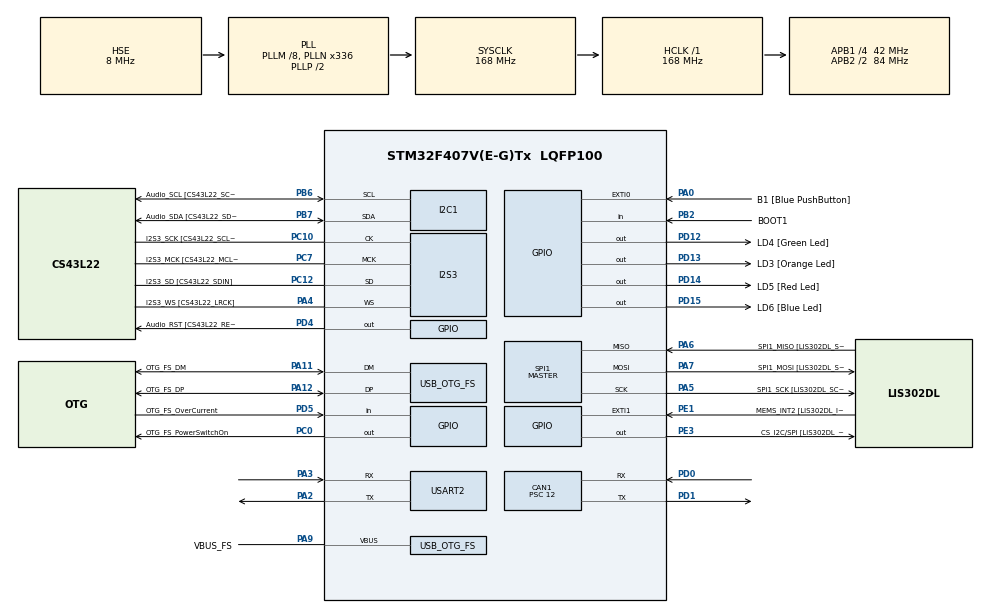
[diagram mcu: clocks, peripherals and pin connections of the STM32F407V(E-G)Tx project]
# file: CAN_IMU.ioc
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CAN1.BS1=CAN_BS1_11TQ
CAN1.BS2=CAN_BS2_2TQ
CAN1.CalculateBaudRate=250000
CAN1.CalculateTimeBit=4000
CAN1.CalculateTimeQuantum=285.7142857142857
CAN1.Prescaler=12
I2S3.AudioFreq-Half_Duplex_Master=I2S_AUDIOFREQ_96K
I2S3.ErrorAudioFreq=-2.34 %
I2S3.ErrorAudioFreq-Half_Duplex_Master=0.8 %
I2S3.FullDuplexMode=I2S_FULLDUPLEXMODE_DISABLE
I2S3.Instance=SPI$Index
I2S3.RealAudioFreq=93.75 KHz
I2S3.RealAudioFreq-Half_Duplex_Master=96.774 KHz
I2S3.VirtualMode=I2S_MODE_MASTER
Mcu.Family=STM32F4
Mcu.Name=STM32F407V(E-G)Tx
Mcu.Package=LQFP100
NVIC.OTG_FS_IRQn=true\:0\:0\:false\:false\:true\:true\:true\:true
NVIC.PriorityGroup=NVIC_PRIORITYGROUP_0
PA0-WKUP.GPIO_Label=B1 [Blue PushButton]
PA0-WKUP.GPIO_ModeDefaultEXTI=GPIO_MODE_EVT_RISING
PA0-WKUP.GPIO_PuPd=GPIO_NOPULL
PA0-WKUP.Signal=GPXTI0
PA10.GPIO_Label=OTG_FS_ID
PA10.GPIO_Mode=GPIO_MODE_AF_PP
PA10.GPIO_PuPd=GPIO_NOPULL
PA10.GPIO_Speed=GPIO_SPEED_FREQ_LOW
PA10.Signal=USB_OTG_FS_ID
PA11.GPIO_Label=OTG_FS_DM
PA11.GPIO_Mode=GPIO_MODE_AF_PP
PA11.GPIO_PuPd=GPIO_NOPULL
PA11.GPIO_Speed=GPIO_SPEED_FREQ_LOW
PA11.Mode=Host_Only
PA11.Signal=USB_OTG_FS_DM
PA12.GPIO_Label=OTG_FS_DP
PA12.GPIO_Mode=GPIO_MODE_AF_PP
PA12.GPIO_PuPd=GPIO_NOPULL
PA12.GPIO_Speed=GPIO_SPEED_FREQ_LOW
PA12.Mode=Host_Only
PA12.Signal=USB_OTG_FS_DP
PA13.GPIO_Label=SWDIO
PA13.Mode=Serial_Wire
PA13.Signal=SYS_JTMS-SWDIO
PA14.GPIO_Label=SWCLK
PA14.Mode=Serial_Wire
PA14.Signal=SYS_JTCK-SWCLK
PA2.Mode=Asynchronous
PA2.Signal=USART2_TX
PA3.Mode=Asynchronous
PA3.Signal=USART2_RX
PA4.GPIO_Label=I2S3_WS [CS43L22_LRCK]
PA4.GPIO_Mode=GPIO_MODE_AF_PP
PA4.GPIO_PuPd=GPIO_NOPULL
PA4.GPIO_Speed=GPIO_SPEED_FREQ_LOW
PA4.Mode=Half_Duplex_Master
PA4.Signal=I2S3_WS
PA5.GPIO_Label=SPI1_SCK [LIS302DL_SCL/SPC]
PA5.GPIO_Mode=GPIO_MODE_AF_PP
PA5.GPIO_PuPd=GPIO_NOPULL
PA5.GPIO_Speed=GPIO_SPEED_FREQ_LOW
PA5.Mode=Full_Duplex_Master
PA5.Signal=SPI1_SCK
PA6.GPIO_Label=SPI1_MISO [LIS302DL_SDO]
PA6.GPIO_Mode=GPIO_MODE_AF_PP
PA6.GPIO_PuPd=GPIO_NOPULL
PA6.GPIO_Speed=GPIO_SPEED_FREQ_LOW
PA6.Mode=Full_Duplex_Master
PA6.Signal=SPI1_MISO
PA7.GPIO_Label=SPI1_MOSI [LIS302DL_SDA/SDI/SDO]
PA7.GPIO_Mode=GPIO_MODE_AF_PP
PA7.GPIO_PuPd=GPIO_NOPULL
PA7.GPIO_Speed=GPIO_SPEED_FREQ_LOW
PA7.Mode=Full_Duplex_Master
PA7.Signal=SPI1_MOSI
PA9.GPIO_Label=VBUS_FS
PA9.GPIO_Mode=GPIO_MODE_INPUT
PA9.GPIO_PuPd=GPIO_NOPULL
PA9.Mode=Activate_VBUS
PA9.Signal=USB_OTG_FS_VBUS
PB10.GPIO_Label=CLK_IN [MP45DT02_CLK]
PB10.GPIO_Mode=GPIO_MODE_AF_PP
PB10.GPIO_PuPd=GPIO_NOPULL
PB10.GPIO_Speed=GPIO_SPEED_FREQ_LOW
PB10.Signal=I2S2_CK
PB2.GPIO_Label=BOOT1
PB2.GPIO_Mode=GPIO_MODE_INPUT
PB2.GPIO_PuPd=GPIO_NOPULL
PB2.Signal=GPIO_Input
PB3.GPIO_Label=SWO
PB3.Signal=SYS_JTDO-SWO
PB6.GPIO_Label=Audio_SCL [CS43L22_SCL]
PB6.GPIO_Mode=GPIO_MODE_AF_OD
PB6.GPIO_Pu=GPIO_PULLUP
PB6.GPIO_PuPd=GPIO_NOPULL
PB6.GPIO_Speed=GPIO_SPEED_FREQ_LOW
PB6.Mode=I2C
PB6.Signal=I2C1_SCL
PB7.GPIO_Label=Audio_SDA [CS43L22_SDA]
PB7.GPIO_Mode=GPIO_MODE_AF_OD
PB7.GPIO_Pu=GPIO_PULLUP
PB7.GPIO_Speed=GPIO_SPEED_FREQ_LOW
PB7.Mode=I2C
PB7.Signal=I2C1_SDA
PC0.GPIO_Label=OTG_FS_PowerSwitchOn
PC0.GPIO_PuPd=GPIO_NOPULL
PC0.GPIO_Speed=GPIO_SPEED_FREQ_LOW
PC0.PinState=GPIO_PIN_SET
PC0.Signal=GPIO_Output
PC10.GPIO_Label=I2S3_SCK [CS43L22_SCLK]
PC10.GPIO_Mode=GPIO_MODE_AF_PP
PC10.GPIO_PuPd=GPIO_NOPULL
PC10.GPIO_Speed=GPIO_SPEED_FREQ_LOW
PC10.Mode=Half_Duplex_Master
PC10.Signal=I2S3_CK
PC12.GPIO_Label=I2S3_SD [CS43L22_SDIN]
PC12.GPIO_Mode=GPIO_MODE_AF_PP
PC12.GPIO_PuPd=GPIO_NOPULL
PC12.GPIO_Speed=GPIO_SPEED_FREQ_LOW
PC12.Mode=Half_Duplex_Master
PC12.Signal=I2S3_SD
PC14-OSC32_IN.GPIO_Label=PC14-OSC32_IN
PC14-OSC32_IN.Mode=LSE-External-Oscillator
PC14-OSC32_IN.Signal=RCC_OSC32_IN
PC15-OSC32_OUT.GPIO_Label=PC15-OSC32_OUT
PC15-OSC32_OUT.Mode=LSE-External-Oscillator
PC15-OSC32_OUT.Signal=RCC_OSC32_OUT
PC3.GPIO_Label=PDM_OUT [MP45DT02_DOUT]
PC3.GPIO_Mode=GPIO_MODE_AF_PP
PC3.GPIO_PuPd=GPIO_NOPULL
PC3.GPIO_Speed=GPIO_SPEED_FREQ_LOW
PC3.Signal=I2S2_SD
PC7.GPIO_Label=I2S3_MCK [CS43L22_MCLK]
PC7.GPIO_Mode=GPIO_MODE_AF_PP
PC7.GPIO_PuPd=GPIO_NOPULL
PC7.GPIO_Speed=GPIO_SPEED_FREQ_LOW
PC7.Mode=Master_Clock_Activated
PC7.Signal=I2S3_MCK
PD0.Mode=CAN_Activate
PD0.Signal=CAN1_RX
PD1.Mode=CAN_Activate
PD1.Signal=CAN1_TX
PD12.GPIO_Label=LD4 [Green Led]
PD12.GPIO_PuPd=GPIO_NOPULL
PD12.GPIO_Speed=GPIO_SPEED_FREQ_LOW
PD12.Signal=GPIO_Output
PD13.GPIO_Label=LD3 [Orange Led]
PD13.GPIO_PuPd=GPIO_NOPULL
PD13.GPIO_Speed=GPIO_SPEED_FREQ_LOW
PD13.Signal=GPIO_Output
PD14.GPIO_Label=LD5 [Red Led]
PD14.GPIO_PuPd=GPIO_NOPULL
PD14.GPIO_Speed=GPIO_SPEED_FREQ_LOW
PD14.Signal=GPIO_Output
PD15.GPIO_Label=LD6 [Blue Led]
PD15.GPIO_PuPd=GPIO_NOPULL
PD15.GPIO_Speed=GPIO_SPEED_FREQ_LOW
PD15.Signal=GPIO_Output
PD4.GPIO_Label=Audio_RST [CS43L22_RESET]
PD4.GPIO_PuPd=GPIO_NOPULL
PD4.GPIO_Speed=GPIO_SPEED_FREQ_LOW
PD4.Signal=GPIO_Output
PD5.GPIO_Label=OTG_FS_OverCurrent
PD5.GPIO_Mode=GPIO_MODE_INPUT
PD5.GPIO_PuPd=GPIO_NOPULL
PD5.Signal=GPIO_Input
PE1.GPIO_Label=MEMS_INT2 [LIS302DL_INT2]
PE1.GPIO_ModeDefaultEXTI=GPIO_MODE_EVT_RISING
PE1.GPIO_PuPd=GPIO_NOPULL
PE1.Signal=GPXTI1
PE3.GPIO_Label=CS_I2C/SPI [LIS302DL_CS_I2C/SPI]
PE3.GPIO_PuPd=GPIO_NOPULL
PE3.GPIO_Speed=GPIO_SPEED_FREQ_LOW
PE3.Signal=GPIO_Output
PH0-OSC_IN.GPIO_Label=PH0-OSC_IN
PH0-OSC_IN.Mode=HSE-External-Oscillator
PH0-OSC_IN.Signal=RCC_OSC_IN
PH1-OSC_OUT.GPIO_Label=PH1-OSC_OUT
PH1-OSC_OUT.Mode=HSE-External-Oscillator
PH1-OSC_OUT.Signal=RCC_OSC_OUT
ProjectManager.HeapSize=0x200
ProjectManager.StackSize=0x400
ProjectManager.TargetToolchain=STM32CubeIDE
RCC.48MHZClocksFreq_Value=48000000
RCC.AHBFreq_Value=168000000
RCC.APB1CLKDivider=RCC_HCLK_DIV4
RCC.APB1Freq_Value=42000000
RCC.APB1TimFreq_Value=84000000
RCC.APB2CLKDivider=RCC_HCLK_DIV2
RCC.APB2Freq_Value=84000000
RCC.APB2TimFreq_Value=168000000
RCC.CortexFreq_Value=168000000
RCC.HCLKFreq_Value=168000000
RCC.HSE_VALUE=8000000
RCC.HSI_VALUE=16000000
RCC.PLLM=8
RCC.PLLN=336
RCC.PLLQ=7
RCC.SYSCLKFreq_VALUE=168000000
RCC.SYSCLKSource=RCC_SYSCLKSOURCE_PLLCLK
RCC.VCOOutputFreq_Value=336000000
SPI1.BaudRatePrescaler-Full_Duplex_Master=SPI_BAUDRATEPRESCALER_2
SPI1.CalculateBaudRate-Full_Duplex_Master=42.0 MBits/s
SPI1.Direction=SPI_DIRECTION_2LINES
SPI1.Mode=SPI_MODE_MASTER
SPI1.Mode-Full_Duplex_Master=SPI_MODE_MASTER
SPI1.VirtualType=VM_MASTER
USART2.VirtualMode=VM_ASYNC
USB_HOST.BSP.number=1
USB_HOST.USBH_HandleTypeDef-CDC_FS=hUsbHostFS
USB_HOST.VirtualModeFS=Cdc
USB_HOST0.BSP.STBoard=false
USB_HOST0.BSP.api=Unknown
USB_HOST0.BSP.instance=PC0
USB_HOST0.BSP.ip=GPIO
USB_HOST0.BSP.mode=Output
USB_HOST0.BSP.name=Drive_VBUS_FS
USB_HOST0.BSP.solution=PC0
USB_OTG_FS.VirtualMode=Host_Only
USB_OTG_FS.phy_itface=HCD_PHY_EMBEDDED
VP_USB_HOST_VS_USB_HOST_CDC_FS.Mode=CDC_FS
board=STM32F407G-DISC1

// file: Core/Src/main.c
/* USER CODE BEGIN Header */
/**
  ******************************************************************************
  * @file           : main.c
  * @brief          : Main program body
  ******************************************************************************
  * @attention
  *
  * Copyright (c) 2025 STMicroelectronics.
  * All rights reserved.
  *
  * This software is licensed under terms that can be found in the LICENSE file
  * in the root directory of this software component.
  * If no LICENSE file comes with this software, it is provided AS-IS.
  *
  ******************************************************************************
  */
/* USER CODE END Header */
#include "main.h"
#include "usb_host.h"

/* USER CODE BEGIN Includes */
#include <string.h>
#include <stdio.h>
#include "bno055_stm32.h"
/* USER CODE END Includes */

CAN_HandleTypeDef hcan1;

I2C_HandleTypeDef hi2c1;

I2S_HandleTypeDef hi2s3;

SPI_HandleTypeDef hspi1;

UART_HandleTypeDef huart2;

/* USER CODE BEGIN PV */
BNO055_HandleTypeDef hBNO055;

float imu_heading_deg = 0.0f;
float imu_roll_deg    = 0.0f;
float imu_pitch_deg   = 0.0f;
float qw, qx, qy, qz;
float gyro_x, gyro_y, gyro_z;
float acc_x, acc_y, acc_z;

char uart_tx_buffer[200];

/* CAN 디버깅용 전역 변수 */
volatile uint32_t g_can_tx_ok       = 0;
volatile uint32_t g_can_tx_err      = 0;
volatile uint32_t g_can_last_error  = 0;

/* CAN 송신용 헤더/버퍼 */
CAN_TxHeaderTypeDef  canTxHeader;
uint8_t              canTxData[8];
uint32_t             canTxMailbox;

/* USER CODE END PV */

void SystemClock_Config(void);
static void MX_GPIO_Init(void);
static void MX_I2C1_Init(void);
static void MX_I2S3_Init(void);
static void MX_SPI1_Init(void);
static void MX_CAN1_Init(void);
static void MX_USART2_UART_Init(void);
void MX_USB_HOST_Process(void);

/* USER CODE BEGIN PFP */
void IMU_SendData(float heading, float roll, float pitch);
void CAN1_Start_AllFilter(void);
void IMU_SendData_CAN(float heading_deg, float roll_deg, float pitch_deg);
/* USER CODE END PFP */

/* USER CODE BEGIN 0 */

void CAN1_Start_AllFilter(void)
{
    CAN_FilterTypeDef sFilterConfig;

    // 모든 ID 허용 (Mask = 0)
    sFilterConfig.FilterBank = 0;
    sFilterConfig.FilterMode = CAN_FILTERMODE_IDMASK;
    sFilterConfig.FilterScale = CAN_FILTERSCALE_32BIT;
    sFilterConfig.FilterIdHigh = 0x0000;
    sFilterConfig.FilterIdLow  = 0x0000;
    sFilterConfig.FilterMaskIdHigh = 0x0000;
    sFilterConfig.FilterMaskIdLow  = 0x0000;
    sFilterConfig.FilterFIFOAssignment = CAN_FILTER_FIFO0;
    sFilterConfig.FilterActivation = ENABLE;
    sFilterConfig.SlaveStartFilterBank = 14;  // 단일 CAN이면 그냥 14 정도로 두면 됨

    if (HAL_CAN_ConfigFilter(&hcan1, &sFilterConfig) != HAL_OK) {
        Error_Handler();
    }

    if (HAL_CAN_Start(&hcan1) != HAL_OK) {
        Error_Handler();
    }
}

/* USER CODE END 0 */

int main(void)
{

  /* MCU Configuration--------------------------------------------------------*/

  /* Reset of all peripherals, Initializes the Flash interface and the Systick. */
  HAL_Init();

  /* Configure the system clock */
  SystemClock_Config();

  /* Initialize all configured peripherals */
  MX_GPIO_Init();
  MX_I2C1_Init();
  MX_I2S3_Init();
  MX_SPI1_Init();
  MX_USB_HOST_Init();
  MX_CAN1_Init();
  GPIO_InitTypeDef GPIO_InitStruct = {0};
  GPIO_InitStruct.Pin = GPIO_PIN_2;     // PA2 = USART2_TX
  GPIO_InitStruct.Mode = GPIO_MODE_INPUT;
  GPIO_InitStruct.Pull = GPIO_NOPULL;
  HAL_GPIO_Init(GPIOA, &GPIO_InitStruct);
  HAL_Delay(5000);
  MX_USART2_UART_Init();

  /* USER CODE BEGIN 2 */
  uint8_t buffer[256];
  // CAN 필터 + Start
  CAN1_Start_AllFilter();  // ★ CAN 시작

  hBNO055.hi2c   = &hi2c1;
  hBNO055.address = 0x28;   // COM3 = LOW 일 때 기본 주소, HIGH면 0x29로 변경
  if (BNO055_Init(&hBNO055) != HAL_OK) {
      // 초기화 실패 시 에러 처리 (LED 깜빡이거나, 무한루프 등)
	  HAL_GPIO_WritePin(GPIOD, GPIO_PIN_15,1);
  } else {
	  HAL_GPIO_WritePin(GPIOD, GPIO_PIN_14,1);
  }
  /* USER CODE END 2 */

  /* Infinite loop */
  /* USER CODE BEGIN WHILE */
  while (1)
  {
	  if (BNO055_ReadEuler(&hBNO055,
						   &imu_heading_deg,
						   &imu_roll_deg,
						   &imu_pitch_deg) == HAL_OK) {
		  IMU_SendData(imu_heading_deg, imu_roll_deg, imu_pitch_deg);

		  // CAN 송신 (ESP32와 동일 포맷)
		  //IMU_SendData_CAN(imu_heading_deg, imu_roll_deg, imu_pitch_deg);
	  }
    /* USER CODE END WHILE */
	//CAN_DebugPrint_Periodic();

    MX_USB_HOST_Process();

  }
}

void SystemClock_Config(void)
{
  RCC_OscInitTypeDef RCC_OscInitStruct = {0};
  RCC_ClkInitTypeDef RCC_ClkInitStruct = {0};

  /** Configure the main internal regulator output voltage
  */
  __HAL_RCC_PWR_CLK_ENABLE();
  __HAL_PWR_VOLTAGESCALING_CONFIG(PWR_REGULATOR_VOLTAGE_SCALE1);

  /** Initializes the RCC Oscillators according to the specified parameters
  * in the RCC_OscInitTypeDef structure.
  */
  RCC_OscInitStruct.OscillatorType = RCC_OSCILLATORTYPE_HSE;
  RCC_OscInitStruct.HSEState = RCC_HSE_ON;
  RCC_OscInitStruct.PLL.PLLState = RCC_PLL_ON;
  RCC_OscInitStruct.PLL.PLLSource = RCC_PLLSOURCE_HSE;
  RCC_OscInitStruct.PLL.PLLM = 8;
  RCC_OscInitStruct.PLL.PLLN = 336;
  RCC_OscInitStruct.PLL.PLLP = RCC_PLLP_DIV2;
  RCC_OscInitStruct.PLL.PLLQ = 7;
  if (HAL_RCC_OscConfig(&RCC_OscInitStruct) != HAL_OK)
  {
    Error_Handler();
  }

  /** Initializes the CPU, AHB and APB buses clocks
  */
  RCC_ClkInitStruct.ClockType = RCC_CLOCKTYPE_HCLK|RCC_CLOCKTYPE_SYSCLK
                              |RCC_CLOCKTYPE_PCLK1|RCC_CLOCKTYPE_PCLK2;
  RCC_ClkInitStruct.SYSCLKSource = RCC_SYSCLKSOURCE_PLLCLK;
  RCC_ClkInitStruct.AHBCLKDivider = RCC_SYSCLK_DIV1;
  RCC_ClkInitStruct.APB1CLKDivider = RCC_HCLK_DIV4;
  RCC_ClkInitStruct.APB2CLKDivider = RCC_HCLK_DIV2;

  if (HAL_RCC_ClockConfig(&RCC_ClkInitStruct, FLASH_LATENCY_5) != HAL_OK)
  {
    Error_Handler();
  }
}

static void MX_CAN1_Init(void)
{

  hcan1.Instance = CAN1;
  hcan1.Init.Prescaler = 12;
  hcan1.Init.Mode = CAN_MODE_NORMAL;
  hcan1.Init.SyncJumpWidth = CAN_SJW_1TQ;
  hcan1.Init.TimeSeg1 = CAN_BS1_11TQ;
  hcan1.Init.TimeSeg2 = CAN_BS2_2TQ;
  hcan1.Init.TimeTriggeredMode = DISABLE;
  hcan1.Init.AutoBusOff = ENABLE;
  hcan1.Init.AutoWakeUp = ENABLE;
  hcan1.Init.AutoRetransmission = ENABLE;
  hcan1.Init.ReceiveFifoLocked = DISABLE;
  hcan1.Init.TransmitFifoPriority = DISABLE;
  if (HAL_CAN_Init(&hcan1) != HAL_OK)
  {
    Error_Handler();
  }

}

static void MX_I2C1_Init(void)
{

  hi2c1.Instance = I2C1;
  hi2c1.Init.ClockSpeed = 100000;
  hi2c1.Init.DutyCycle = I2C_DUTYCYCLE_2;
  hi2c1.Init.OwnAddress1 = 0;
  hi2c1.Init.AddressingMode = I2C_ADDRESSINGMODE_7BIT;
  hi2c1.Init.DualAddressMode = I2C_DUALADDRESS_DISABLE;
  hi2c1.Init.OwnAddress2 = 0;
  hi2c1.Init.GeneralCallMode = I2C_GENERALCALL_DISABLE;
  hi2c1.Init.NoStretchMode = I2C_NOSTRETCH_DISABLE;
  if (HAL_I2C_Init(&hi2c1) != HAL_OK)
  {
    Error_Handler();
  }

}

static void MX_I2S3_Init(void)
{

  hi2s3.Instance = SPI3;
  hi2s3.Init.Mode = I2S_MODE_MASTER_TX;
  hi2s3.Init.Standard = I2S_STANDARD_PHILIPS;
  hi2s3.Init.DataFormat = I2S_DATAFORMAT_16B;
  hi2s3.Init.MCLKOutput = I2S_MCLKOUTPUT_ENABLE;
  hi2s3.Init.AudioFreq = I2S_AUDIOFREQ_96K;
  hi2s3.Init.CPOL = I2S_CPOL_LOW;
  hi2s3.Init.ClockSource = I2S_CLOCK_PLL;
  hi2s3.Init.FullDuplexMode = I2S_FULLDUPLEXMODE_DISABLE;
  if (HAL_I2S_Init(&hi2s3) != HAL_OK)
  {
    Error_Handler();
  }

}

static void MX_SPI1_Init(void)
{

  /* SPI1 parameter configuration*/
  hspi1.Instance = SPI1;
  hspi1.Init.Mode = SPI_MODE_MASTER;
  hspi1.Init.Direction = SPI_DIRECTION_2LINES;
  hspi1.Init.DataSize = SPI_DATASIZE_8BIT;
  hspi1.Init.CLKPolarity = SPI_POLARITY_LOW;
  hspi1.Init.CLKPhase = SPI_PHASE_1EDGE;
  hspi1.Init.NSS = SPI_NSS_SOFT;
  hspi1.Init.BaudRatePrescaler = SPI_BAUDRATEPRESCALER_2;
  hspi1.Init.FirstBit = SPI_FIRSTBIT_MSB;
  hspi1.Init.TIMode = SPI_TIMODE_DISABLE;
  hspi1.Init.CRCCalculation = SPI_CRCCALCULATION_DISABLE;
  hspi1.Init.CRCPolynomial = 10;
  if (HAL_SPI_Init(&hspi1) != HAL_OK)
  {
    Error_Handler();
  }

}

static void MX_USART2_UART_Init(void)
{

  huart2.Instance = USART2;
  huart2.Init.BaudRate = 115200;
  huart2.Init.WordLength = UART_WORDLENGTH_8B;
  huart2.Init.StopBits = UART_STOPBITS_1;
  huart2.Init.Parity = UART_PARITY_NONE;
  huart2.Init.Mode = UART_MODE_TX_RX;
  huart2.Init.HwFlowCtl = UART_HWCONTROL_NONE;
  huart2.Init.OverSampling = UART_OVERSAMPLING_16;
  if (HAL_UART_Init(&huart2) != HAL_OK)
  {
    Error_Handler();
  }

}

static void MX_GPIO_Init(void)
{
  GPIO_InitTypeDef GPIO_InitStruct = {0};

  /* GPIO Ports Clock Enable */
  __HAL_RCC_GPIOE_CLK_ENABLE();
  __HAL_RCC_GPIOC_CLK_ENABLE();
  __HAL_RCC_GPIOH_CLK_ENABLE();
  __HAL_RCC_GPIOA_CLK_ENABLE();
  __HAL_RCC_GPIOB_CLK_ENABLE();
  __HAL_RCC_GPIOD_CLK_ENABLE();

  /*Configure GPIO pin Output Level */
  HAL_GPIO_WritePin(CS_I2C_SPI_GPIO_Port, CS_I2C_SPI_Pin, GPIO_PIN_RESET);

  /*Configure GPIO pin Output Level */
  HAL_GPIO_WritePin(OTG_FS_PowerSwitchOn_GPIO_Port, OTG_FS_PowerSwitchOn_Pin, GPIO_PIN_SET);

  /*Configure GPIO pin Output Level */
  HAL_GPIO_WritePin(GPIOD, LD4_Pin|LD3_Pin|LD5_Pin|LD6_Pin
                          |Audio_RST_Pin, GPIO_PIN_RESET);

  /*Configure GPIO pin : CS_I2C_SPI_Pin */
  GPIO_InitStruct.Pin = CS_I2C_SPI_Pin;
  GPIO_InitStruct.Mode = GPIO_MODE_OUTPUT_PP;
  GPIO_InitStruct.Pull = GPIO_NOPULL;
  GPIO_InitStruct.Speed = GPIO_SPEED_FREQ_LOW;
  HAL_GPIO_Init(CS_I2C_SPI_GPIO_Port, &GPIO_InitStruct);

  /*Configure GPIO pin : OTG_FS_PowerSwitchOn_Pin */
  GPIO_InitStruct.Pin = OTG_FS_PowerSwitchOn_Pin;
  GPIO_InitStruct.Mode = GPIO_MODE_OUTPUT_PP;
  GPIO_InitStruct.Pull = GPIO_NOPULL;
  GPIO_InitStruct.Speed = GPIO_SPEED_FREQ_LOW;
  HAL_GPIO_Init(OTG_FS_PowerSwitchOn_GPIO_Port, &GPIO_InitStruct);

  /*Configure GPIO pin : PDM_OUT_Pin */
  GPIO_InitStruct.Pin = PDM_OUT_Pin;
  GPIO_InitStruct.Mode = GPIO_MODE_AF_PP;
  GPIO_InitStruct.Pull = GPIO_NOPULL;
  GPIO_InitStruct.Speed = GPIO_SPEED_FREQ_LOW;
  GPIO_InitStruct.Alternate = GPIO_AF5_SPI2;
  HAL_GPIO_Init(PDM_OUT_GPIO_Port, &GPIO_InitStruct);

  /*Configure GPIO pin : B1_Pin */
  GPIO_InitStruct.Pin = B1_Pin;
  GPIO_InitStruct.Mode = GPIO_MODE_EVT_RISING;
  GPIO_InitStruct.Pull = GPIO_NOPULL;
  HAL_GPIO_Init(B1_GPIO_Port, &GPIO_InitStruct);

  /*Configure GPIO pin : BOOT1_Pin */
  GPIO_InitStruct.Pin = BOOT1_Pin;
  GPIO_InitStruct.Mode = GPIO_MODE_INPUT;
  GPIO_InitStruct.Pull = GPIO_NOPULL;
  HAL_GPIO_Init(BOOT1_GPIO_Port, &GPIO_InitStruct);

  /*Configure GPIO pin : CLK_IN_Pin */
  GPIO_InitStruct.Pin = CLK_IN_Pin;
  GPIO_InitStruct.Mode = GPIO_MODE_AF_PP;
  GPIO_InitStruct.Pull = GPIO_NOPULL;
  GPIO_InitStruct.Speed = GPIO_SPEED_FREQ_LOW;
  GPIO_InitStruct.Alternate = GPIO_AF5_SPI2;
  HAL_GPIO_Init(CLK_IN_GPIO_Port, &GPIO_InitStruct);

  /*Configure GPIO pins : LD4_Pin LD3_Pin LD5_Pin LD6_Pin
                           Audio_RST_Pin */
  GPIO_InitStruct.Pin = LD4_Pin|LD3_Pin|LD5_Pin|LD6_Pin
                          |Audio_RST_Pin;
  GPIO_InitStruct.Mode = GPIO_MODE_OUTPUT_PP;
  GPIO_InitStruct.Pull = GPIO_NOPULL;
  GPIO_InitStruct.Speed = GPIO_SPEED_FREQ_LOW;
  HAL_GPIO_Init(GPIOD, &GPIO_InitStruct);

  /*Configure GPIO pin : OTG_FS_OverCurrent_Pin */
  GPIO_InitStruct.Pin = OTG_FS_OverCurrent_Pin;
  GPIO_InitStruct.Mode = GPIO_MODE_INPUT;
  GPIO_InitStruct.Pull = GPIO_NOPULL;
  HAL_GPIO_Init(OTG_FS_OverCurrent_GPIO_Port, &GPIO_InitStruct);

  /*Configure GPIO pin : MEMS_INT2_Pin */
  GPIO_InitStruct.Pin = MEMS_INT2_Pin;
  GPIO_InitStruct.Mode = GPIO_MODE_EVT_RISING;
  GPIO_InitStruct.Pull = GPIO_NOPULL;
  HAL_GPIO_Init(MEMS_INT2_GPIO_Port, &GPIO_InitStruct);

}

/* USER CODE BEGIN 4 */
// heading, roll, pitch [deg] → CAN 0x100, int16(centi-deg) 3개로 송신
void IMU_SendData_CAN(float heading_deg, float roll_deg, float pitch_deg)
{
    // 1) 각도 *100 해서 0.01도 단위 정수화
    int16_t yaw_centi   = (int16_t)(heading_deg * 100.0f);
    int16_t roll_centi  = (int16_t)(roll_deg    * 100.0f);
    int16_t pitch_centi = (int16_t)(pitch_deg   * 100.0f);

    // 2) CAN 헤더 설정 (ESP32와 동일 포맷)
    canTxHeader.StdId = 0x100;          // CAN_ID_IMU_EULER
    canTxHeader.IDE   = CAN_ID_STD;     // 표준 11bit ID
    canTxHeader.RTR   = CAN_RTR_DATA;   // 데이터 프레임
    canTxHeader.DLC   = 6;              // yaw, roll, pitch = 6바이트
    canTxHeader.TransmitGlobalTime = DISABLE;

    // 3) Little-endian으로 데이터 패킹
    canTxData[0] = (uint8_t)(yaw_centi & 0xFF);
    canTxData[1] = (uint8_t)((yaw_centi >> 8) & 0xFF);
    canTxData[2] = (uint8_t)(roll_centi & 0xFF);
    canTxData[3] = (uint8_t)((roll_centi >> 8) & 0xFF);
    canTxData[4] = (uint8_t)(pitch_centi & 0xFF);
    canTxData[5] = (uint8_t)((pitch_centi >> 8) & 0xFF);
    // 6,7은 비움

    HAL_StatusTypeDef st = HAL_CAN_AddTxMessage(&hcan1, &canTxHeader, canTxData, &canTxMailbox);

        if (st == HAL_OK)
        {
            g_can_tx_ok++;
            // 송신 성공 시 초록 LED 토글 (LD4_Pin = PD12)
            HAL_GPIO_TogglePin(GPIOD, LD4_Pin);
        }
        else
        {
            g_can_tx_err++;
            g_can_last_error = HAL_CAN_GetError(&hcan1);  // HAL_CAN_ERROR_* 비트들 저장

            // 에러 LED 토글 (LD5_Pin = PD14 = Red)
            HAL_GPIO_TogglePin(GPIOD, LD5_Pin);

            int len = snprintf(uart_tx_buffer, sizeof(uart_tx_buffer),
                               "[CAN TX ERR] st=%ld, err=0x%08lX\r\n",
                               (long)st, (unsigned long)g_can_last_error);
            HAL_UART_Transmit(&huart2, (uint8_t*)uart_tx_buffer, len, HAL_MAX_DELAY);
        }
}

void IMU_SendData(float heading, float roll, float pitch)
{
    // 기존 UART 디버그 출력 그대로 유지
    int len = snprintf(uart_tx_buffer, sizeof(uart_tx_buffer),
                       "H:%.2f,R:%.2f,P:%.2f\r\n",
                       heading, roll, pitch);

    HAL_UART_Transmit(&huart2, (uint8_t*)uart_tx_buffer, len, HAL_MAX_DELAY);
}

void CAN_DebugPrint_Periodic(void)
{
    static uint32_t last_tick = 0;
    uint32_t now = HAL_GetTick();

    if (now - last_tick < 1000)   // 1초마다
        return;

    last_tick = now;

    HAL_CAN_StateTypeDef can_state = HAL_CAN_GetState(&hcan1);
    uint32_t err = HAL_CAN_GetError(&hcan1);

    int len = snprintf(uart_tx_buffer, sizeof(uart_tx_buffer),
                       "[CAN] state=%ld, err=0x%08lX, tx_ok=%lu, tx_err=%lu\r\n",
                       (long)can_state,
                       (unsigned long)err,
                       (unsigned long)g_can_tx_ok,
                       (unsigned long)g_can_tx_err);
    HAL_UART_Transmit(&huart2, (uint8_t*)uart_tx_buffer, len, HAL_MAX_DELAY);
}

/* USER CODE END 4 */

void Error_Handler(void)
{
  __disable_irq();
  while (1)
  {
  }
}
